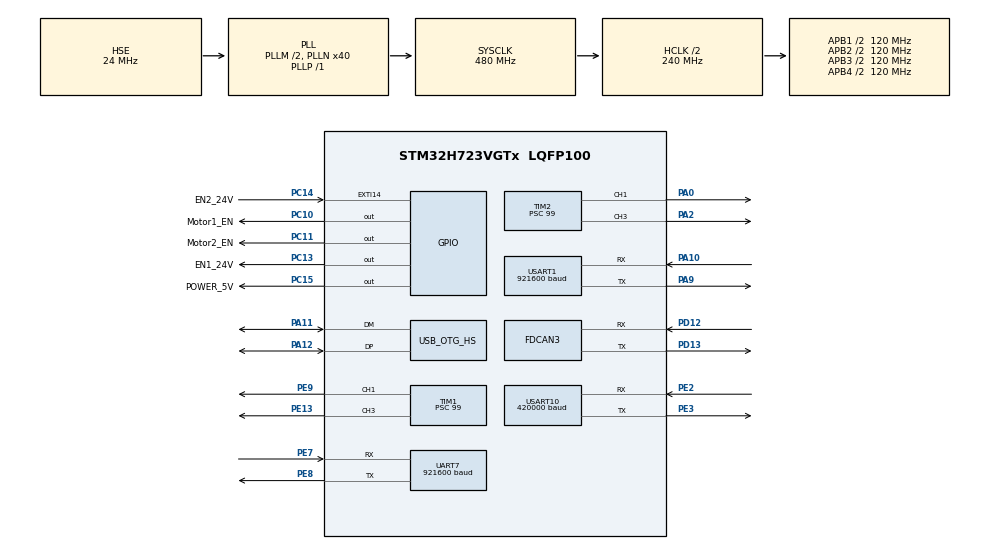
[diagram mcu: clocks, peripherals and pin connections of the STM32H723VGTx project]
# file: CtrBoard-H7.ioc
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CORTEX_M7.CPU_DCache=Disabled
CORTEX_M7.CPU_ICache=Disabled
Dma.Request0=USART1_TX
Dma.Request1=USART10_TX
Dma.USART10_TX.1.Direction=DMA_MEMORY_TO_PERIPH
Dma.USART10_TX.1.EventEnable=DISABLE
Dma.USART10_TX.1.FIFOMode=DMA_FIFOMODE_DISABLE
Dma.USART10_TX.1.Instance=DMA1_Stream0
Dma.USART10_TX.1.MemDataAlignment=DMA_MDATAALIGN_BYTE
Dma.USART10_TX.1.MemInc=DMA_MINC_ENABLE
Dma.USART10_TX.1.Mode=DMA_NORMAL
Dma.USART10_TX.1.PeriphDataAlignment=DMA_PDATAALIGN_BYTE
Dma.USART10_TX.1.PeriphInc=DMA_PINC_DISABLE
Dma.USART10_TX.1.Polarity=HAL_DMAMUX_REQ_GEN_RISING
Dma.USART10_TX.1.Priority=DMA_PRIORITY_LOW
Dma.USART10_TX.1.RequestNumber=1
Dma.USART10_TX.1.SignalID=NONE
Dma.USART10_TX.1.SyncEnable=DISABLE
Dma.USART10_TX.1.SyncPolarity=HAL_DMAMUX_SYNC_NO_EVENT
Dma.USART10_TX.1.SyncRequestNumber=1
Dma.USART10_TX.1.SyncSignalID=NONE
Dma.USART1_TX.0.Direction=DMA_MEMORY_TO_PERIPH
Dma.USART1_TX.0.EventEnable=DISABLE
Dma.USART1_TX.0.FIFOMode=DMA_FIFOMODE_DISABLE
Dma.USART1_TX.0.Instance=DMA1_Stream1
Dma.USART1_TX.0.MemDataAlignment=DMA_MDATAALIGN_BYTE
Dma.USART1_TX.0.MemInc=DMA_MINC_ENABLE
Dma.USART1_TX.0.Mode=DMA_CIRCULAR
Dma.USART1_TX.0.PeriphDataAlignment=DMA_PDATAALIGN_BYTE
Dma.USART1_TX.0.PeriphInc=DMA_PINC_DISABLE
Dma.USART1_TX.0.Polarity=HAL_DMAMUX_REQ_GEN_RISING
Dma.USART1_TX.0.Priority=DMA_PRIORITY_LOW
Dma.USART1_TX.0.RequestNumber=1
Dma.USART1_TX.0.SignalID=NONE
Dma.USART1_TX.0.SyncEnable=DISABLE
Dma.USART1_TX.0.SyncPolarity=HAL_DMAMUX_SYNC_NO_EVENT
Dma.USART1_TX.0.SyncRequestNumber=1
Dma.USART1_TX.0.SyncSignalID=NONE
FDCAN3.CalculateBaudRateNominal=1499999
FDCAN3.CalculateTimeBitNominal=666
FDCAN3.CalculateTimeQuantumNominal=133.33333333333334
FDCAN3.NominalTimeSeg1=2
FDCAN3.NominalTimeSeg2=2
FDCAN3.TxFifoQueueElmtsNbr=32
Mcu.Family=STM32H7
Mcu.Name=STM32H723VGTx
Mcu.Package=LQFP100
NVIC.DMA1_Stream0_IRQn=true\:0\:0\:false\:false\:true\:false\:true\:true
NVIC.DMA1_Stream1_IRQn=true\:0\:0\:false\:false\:true\:false\:true\:true
NVIC.FDCAN3_IT0_IRQn=true\:0\:0\:false\:false\:true\:true\:true\:true
NVIC.FDCAN3_IT1_IRQn=true\:0\:0\:false\:false\:true\:true\:true\:true
NVIC.OTG_HS_EP1_IN_IRQn=true\:0\:0\:false\:false\:true\:true\:true\:true
NVIC.OTG_HS_EP1_OUT_IRQn=true\:0\:0\:false\:false\:true\:true\:true\:true
NVIC.OTG_HS_IRQn=true\:0\:0\:false\:false\:true\:false\:true\:true
NVIC.PriorityGroup=NVIC_PRIORITYGROUP_4
NVIC.USART10_IRQn=true\:0\:0\:false\:false\:true\:true\:true\:true
PA0.Signal=S_TIM2_CH1_ETR
PA10.Mode=Asynchronous
PA10.Signal=USART1_RX
PA11.Mode=Device_Only_FS
PA11.Signal=USB_OTG_HS_DM
PA12.Mode=Device_Only_FS
PA12.Signal=USB_OTG_HS_DP
PA13(JTMS/SWDIO).Mode=Serial_Wire
PA13(JTMS/SWDIO).Signal=DEBUG_JTMS-SWDIO
PA14(JTCK/SWCLK).Mode=Serial_Wire
PA14(JTCK/SWCLK).Signal=DEBUG_JTCK-SWCLK
PA2.Signal=S_TIM2_CH3
PA9.Mode=Asynchronous
PA9.Signal=USART1_TX
PC10.GPIO_Label=Motor1_EN
PC10.Signal=GPIO_Output
PC11.GPIO_Label=Motor2_EN
PC11.Signal=GPIO_Output
PC13.GPIO_Label=EN1_24V
PC13.Signal=GPIO_Output
PC14-OSC32_IN.GPIO_Label=EN2_24V
PC14-OSC32_IN.Signal=GPXTI14
PC15-OSC32_OUT.GPIO_Label=POWER_5V
PC15-OSC32_OUT.PinState=GPIO_PIN_SET
PC15-OSC32_OUT.Signal=GPIO_Output
PD12.Mode=FDCAN_Activate
PD12.Signal=FDCAN3_RX
PD13.Mode=FDCAN_Activate
PD13.Signal=FDCAN3_TX
PE13.Signal=S_TIM1_CH3
PE2.Mode=Asynchronous
PE2.Signal=USART10_RX
PE3.Mode=Asynchronous
PE3.Signal=USART10_TX
PE7.Mode=Asynchronous
PE7.Signal=UART7_RX
PE8.Mode=Asynchronous
PE8.Signal=UART7_TX
PE9.Signal=S_TIM1_CH1
PH0-OSC_IN.Mode=HSE-External-Oscillator
PH0-OSC_IN.Signal=RCC_OSC_IN
PH1-OSC_OUT.Mode=HSE-External-Oscillator
PH1-OSC_OUT.Signal=RCC_OSC_OUT
ProjectManager.HeapSize=0x200
ProjectManager.StackSize=0x400
ProjectManager.TargetToolchain=CMake
RCC.ADCFreq_Value=48375000
RCC.APB1Freq_Value=120000000
RCC.APB2Freq_Value=120000000
RCC.APB3Freq_Value=120000000
RCC.APB4Freq_Value=120000000
RCC.CortexFreq_Value=480000000
RCC.D1PPRE=RCC_APB3_DIV2
RCC.D2PPRE1=RCC_APB1_DIV2
RCC.D2PPRE2=RCC_APB2_DIV2
RCC.D3PPRE=RCC_APB4_DIV2
RCC.DIVM1=2
RCC.DIVN1=40
RCC.DIVP1=1
RCC.DIVQ1=4
RCC.HCLKFreq_Value=240000000
RCC.HPRE=RCC_HCLK_DIV2
RCC.HSE_VALUE=24000000
RCC.PLLFRACN=0
RCC.PLLSourceVirtual=RCC_PLLSOURCE_HSE
RCC.RCC_MCO1Source=RCC_MCO1SOURCE_HSE
RCC.SYSCLKFreq_VALUE=480000000
RCC.SYSCLKSource=RCC_SYSCLKSOURCE_PLLCLK
RCC.USBCLockSelection=RCC_USBCLKSOURCE_HSI48
RCC.USBFreq_Value=48000000
SH.S_TIM1_CH1.0=TIM1_CH1,PWM Generation1 CH1
SH.S_TIM1_CH3.0=TIM1_CH3,PWM Generation3 CH3
SH.S_TIM2_CH1_ETR.0=TIM2_CH1,PWM Generation1 CH1
SH.S_TIM2_CH3.0=TIM2_CH3,PWM Generation3 CH3
TIM1.Channel-PWM\ Generation1\ CH1=TIM_CHANNEL_1
TIM1.Channel-PWM\ Generation3\ CH3=TIM_CHANNEL_3
TIM1.Period=5999
TIM1.Prescaler=99
TIM2.Channel-PWM\ Generation1\ CH1=TIM_CHANNEL_1
TIM2.Channel-PWM\ Generation3\ CH3=TIM_CHANNEL_3
TIM2.Period=5999
TIM2.Prescaler=99
UART7.BaudRate=921600
USART1.BaudRate=921600
USART1.VirtualMode-Asynchronous=VM_ASYNC
USART10.BaudRate=420000
USART10.VirtualMode=VM_ASYNC
USB_DEVICE.CLASS_NAME_HS=CDC
USB_DEVICE.VirtualMode=Cdc
USB_DEVICE.VirtualModeHS=Cdc_HS
USB_OTG_HS.VirtualMode-Device_Only_FS=Device_Only_FS
USB_OTG_HS.dma_enable-Device_Only_FS=DISABLE
USB_OTG_HS.low_power_enable-Device_Only_FS=DISABLE
VP_TIM1_VS_ClockSourceINT.Mode=Internal
VP_TIM2_VS_ClockSourceINT.Mode=Internal
VP_USB_DEVICE_VS_USB_DEVICE_CDC_HS.Mode=CDC_HS
board=custom

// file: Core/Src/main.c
/* USER CODE BEGIN Header */
/**
  ******************************************************************************
  * @file           : main.c
  * @brief          : Main program body
  ******************************************************************************
  * @attention
  *
  * Copyright (c) 2026 STMicroelectronics.
  * All rights reserved.
  *
  * This software is licensed under terms that can be found in the LICENSE file
  * in the root directory of this software component.
  * If no LICENSE file comes with this software, it is provided AS-IS.
  *
  ******************************************************************************
  */
/* USER CODE END Header */
#include "main.h"
#include "dma.h"
#include "fdcan.h"
#include "tim.h"
#include "usart.h"
#include "usb_device.h"
#include "gpio.h"

/* USER CODE BEGIN Includes */
#include "crsf.h"
#include "vofa.h"
#include "motor.h"
#include "usbd_core.h"
#include "can_io.h"
#include "serial_protocol.h"
#include <stdio.h>
/* USER CODE END Includes */

void SystemClock_Config(void);

int main(void)
{

  /* MCU Configuration--------------------------------------------------------*/

  /* Reset of all peripherals, Initializes the Flash interface and the Systick. */
  HAL_Init();

  /* Configure the system clock */
  SystemClock_Config();

  /* Initialize all configured peripherals */
  MX_GPIO_Init();
  MX_DMA_Init();
  MX_USART1_UART_Init();
  MX_USART10_UART_Init();
  MX_UART7_Init();
  MX_USB_DEVICE_Init();
  MX_TIM1_Init();
  MX_TIM2_Init();
  MX_FDCAN3_Init();
  /* USER CODE BEGIN 2 */
  crsf_init();
  motor_init();
  can_io_init();
  serial_protocol_init();
  /* USER CODE END 2 */

  /* Infinite loop */
  while (1)
  {

    /* USER CODE BEGIN 3 */
    static uint32_t last_tick = 0;
    uint32_t now = HAL_GetTick();

    if (now - last_tick >= 10) {
        last_tick = now;
        const crsf_data_t *rc = crsf_get_data();

        /* Control priority: ROS2 6ch > ROS2 motor > ELRS CRSF > Safe Stop */
        {
            const serial_channels_t *ch = serial_get_channels();
            if (serial_is_active() && ch->fresh) {
                /* --- ROS2 6-channel autonomous control (highest priority) --- */
                motor_update_from_channels(ch->channels);
                /* Clear fresh flag — will be set again when next CHANNELS_2 arrives */
                ((serial_channels_t *)ch)->fresh = 0;
            } else if (serial_is_active()) {
                /* --- ROS2 legacy motor RPM control --- */
                const serial_cmd_t *cmd = serial_get_cmd();
                motor_update_raw(cmd->left_rpm, cmd->right_rpm);
            } else if (crsf_is_connected()) {
                /* --- ELRS remote control (fallback) --- */
                motor_update(rc->channels[0], rc->channels[1]);

                vofa_send_channels(rc->channels, 16);
            } else {
                /* --- No control source — safety stop --- */
                motor_stop();
            }
        }

        /* CAN IO relay cycling: only when serial is NOT active
         * (6-channel control overrides relay outputs via motor_update_from_channels) */
        if (!serial_is_active()) {
            static uint32_t relay_tick = 0;
            static uint32_t status_tick = 0;
            static uint8_t  phase = 0;

            if (now - relay_tick >= 2500) {
                relay_tick = now;
                phase = (phase + 1) % 4;
                can_io_write_relay(1 << phase);
            }

            if (now - status_tick >= 500) {
                status_tick = now;
                can_io_read_relay_status();
                can_io_read_input_status();

                char buf[128];
                int len = sprintf(buf,
                    "OUT:%d,%d,%d,%d IN:%d,%d,%d,%d\r\n",
                    (can_io_relay_status >> 0) & 1,
                    (can_io_relay_status >> 1) & 1,
                    (can_io_relay_status >> 2) & 1,
                    (can_io_relay_status >> 3) & 1,
                    (can_io_input_status >> 0) & 1,
                    (can_io_input_status >> 1) & 1,
                    (can_io_input_status >> 2) & 1,
                    (can_io_input_status >> 3) & 1);
                if (len > 0) {
                    usart1_debug_transmit((uint8_t*)buf, (uint16_t)len);
                }
            }
        }
    }
  }
  /* USER CODE END 3 */
}

void SystemClock_Config(void)
{
  RCC_OscInitTypeDef RCC_OscInitStruct = {0};
  RCC_ClkInitTypeDef RCC_ClkInitStruct = {0};

  /** Supply configuration update enable
  */
  HAL_PWREx_ConfigSupply(PWR_LDO_SUPPLY);

  /** Configure the main internal regulator output voltage
  */
  __HAL_PWR_VOLTAGESCALING_CONFIG(PWR_REGULATOR_VOLTAGE_SCALE0);

  while(!__HAL_PWR_GET_FLAG(PWR_FLAG_VOSRDY)) {}

  /** Initializes the RCC Oscillators according to the specified parameters
  * in the RCC_OscInitTypeDef structure.
  */
  RCC_OscInitStruct.OscillatorType = RCC_OSCILLATORTYPE_HSI48|RCC_OSCILLATORTYPE_HSE;
  RCC_OscInitStruct.HSEState = RCC_HSE_ON;
  RCC_OscInitStruct.HSI48State = RCC_HSI48_ON;
  RCC_OscInitStruct.PLL.PLLState = RCC_PLL_ON;
  RCC_OscInitStruct.PLL.PLLSource = RCC_PLLSOURCE_HSE;
  RCC_OscInitStruct.PLL.PLLM = 2;
  RCC_OscInitStruct.PLL.PLLN = 40;
  RCC_OscInitStruct.PLL.PLLP = 1;
  RCC_OscInitStruct.PLL.PLLQ = 4;
  RCC_OscInitStruct.PLL.PLLR = 2;
  RCC_OscInitStruct.PLL.PLLRGE = RCC_PLL1VCIRANGE_3;
  RCC_OscInitStruct.PLL.PLLVCOSEL = RCC_PLL1VCOWIDE;
  RCC_OscInitStruct.PLL.PLLFRACN = 0;
  if (HAL_RCC_OscConfig(&RCC_OscInitStruct) != HAL_OK)
  {
    Error_Handler();
  }

  /** Initializes the CPU, AHB and APB buses clocks
  */
  RCC_ClkInitStruct.ClockType = RCC_CLOCKTYPE_HCLK|RCC_CLOCKTYPE_SYSCLK
                              |RCC_CLOCKTYPE_PCLK1|RCC_CLOCKTYPE_PCLK2
                              |RCC_CLOCKTYPE_D3PCLK1|RCC_CLOCKTYPE_D1PCLK1;
  RCC_ClkInitStruct.SYSCLKSource = RCC_SYSCLKSOURCE_PLLCLK;
  RCC_ClkInitStruct.SYSCLKDivider = RCC_SYSCLK_DIV1;
  RCC_ClkInitStruct.AHBCLKDivider = RCC_HCLK_DIV2;
  RCC_ClkInitStruct.APB3CLKDivider = RCC_APB3_DIV2;
  RCC_ClkInitStruct.APB1CLKDivider = RCC_APB1_DIV2;
  RCC_ClkInitStruct.APB2CLKDivider = RCC_APB2_DIV2;
  RCC_ClkInitStruct.APB4CLKDivider = RCC_APB4_DIV2;

  if (HAL_RCC_ClockConfig(&RCC_ClkInitStruct, FLASH_LATENCY_3) != HAL_OK)
  {
    Error_Handler();
  }
}

void Error_Handler(void)
{
  __disable_irq();
  while (1)
  {
  }
}
